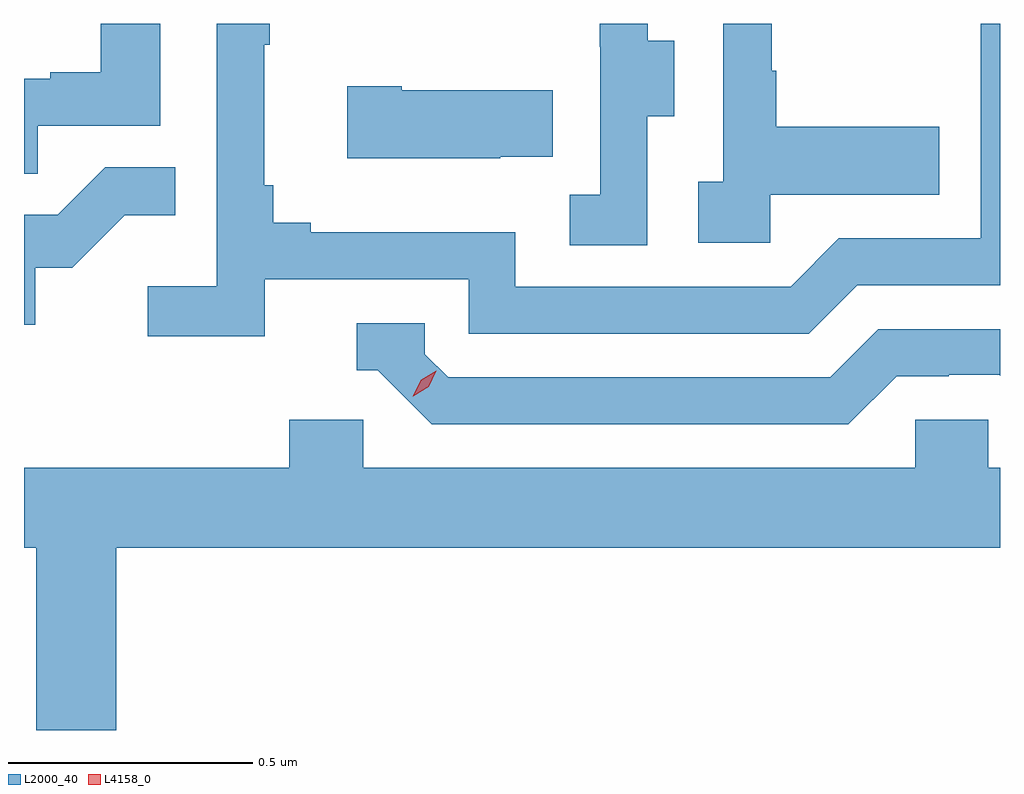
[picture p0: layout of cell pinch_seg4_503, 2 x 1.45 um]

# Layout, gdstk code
import gdstk
lib = gdstk.Library(unit=1e-6, precision=1e-09)
def P(c, l, *ps):  # polygons
    for p in ps: c.add(gdstk.Polygon(p, *l))
L2000_40 = (2000, 40)
L4158_0 = (4158, 0)

pinch_seg4_503 = lib.new_cell('pinch_seg4_503')
P(pinch_seg4_503, L2000_40, [(920.72,762.738),(921.138,762.738),(921.138,762.627),(921.835,762.627),(921.934,762.726),(922.227,762.726),(922.227,763.262),(922.188,763.262),(922.188,762.822),(921.897,762.822),(921.798,762.723),(921.234,762.723),(921.234,762.835),(920.815,762.835),(920.815,762.854),(920.738,762.854),(920.738,762.931),(920.719,762.931),(920.719,763.219),(920.731,763.219),(920.731,763.262),(920.622,763.262),(920.622,762.724),(920.481,762.724),(920.481,762.622),(920.72,762.622)],
  [(921.756,762.911),(922.103,762.911),(922.103,763.051),(921.769,763.051),(921.769,763.166),(921.759,763.166),(921.759,763.262),(921.66,763.262),(921.66,762.938),(921.609,762.938),(921.609,762.813),(921.756,762.813)],
  [(921.504,763.072),(921.559,763.072),(921.559,763.227),(921.505,763.227),(921.505,763.262),(921.407,763.262),(921.407,763.215),(921.408,763.215),(921.408,762.911),(921.345,762.911),(921.345,762.808),(921.504,762.808)],
  [(920.255,763.053),(920.506,763.053),(920.506,763.262),(920.384,763.262),(920.384,763.162),(920.281,763.162),(920.281,763.149),(920.227,763.149),(920.227,762.955),(920.255,762.955)],
  [(921.203,762.989),(921.311,762.989),(921.311,763.126),(921.001,763.126),(921.001,763.134),(920.889,763.134),(920.889,762.986),(921.203,762.986)],
  [(920.25,762.762),(920.326,762.762),(920.433,762.869),(920.537,762.869),(920.537,762.968),(920.394,762.968),(920.296,762.87),(920.227,762.87),(920.227,762.645),(920.25,762.645)],
  [(922.015,762.54),(922.122,762.54),(922.122,762.543),(922.225,762.543),(922.227,762.541),(922.227,762.636),(921.978,762.636),(921.879,762.537),(921.096,762.537),(921.048,762.585),(921.048,762.648),(920.909,762.648),(920.909,762.552),(920.952,762.552),(921.063,762.441),(921.916,762.441)],
  [(920.416,762.188),(922.227,762.188),(922.227,762.352),(922.203,762.352),(922.203,762.45),(922.053,762.45),(922.053,762.352),(920.922,762.352),(920.922,762.45),(920.771,762.45),(920.771,762.352),(920.227,762.352),(920.227,762.188),(920.252,762.188),(920.252,761.814),(920.416,761.814)])
P(pinch_seg4_503, L4158_0, [(921.024,762.499),(921.024,762.499),(921.041,762.532),(921.072,762.551),(921.072,762.551),(921.072,762.551),(921.056,762.518),(921.025,762.499)])

lib.write_gds('pinch_seg4_503.gds')
